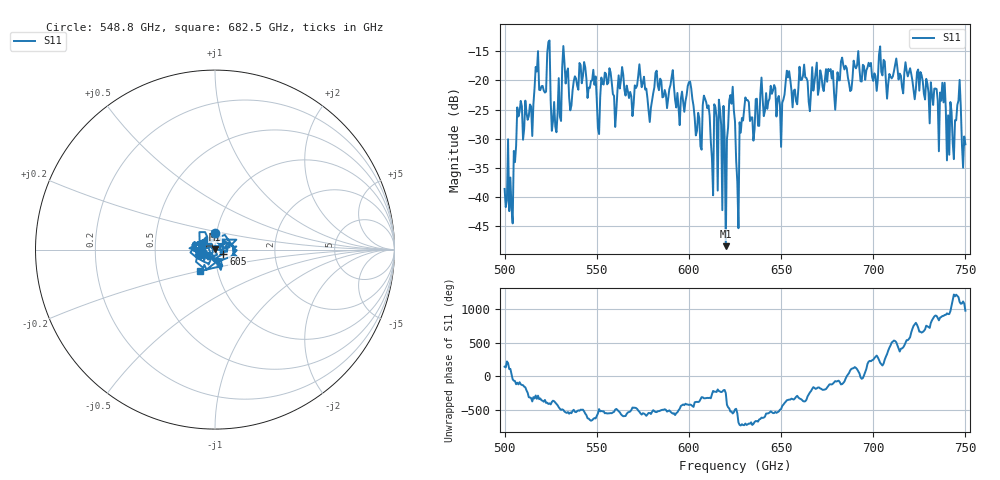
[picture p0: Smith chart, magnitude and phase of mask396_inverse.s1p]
!Created with skrf (http://scikit-rf.org).
# GHz S MA R 50.0
!freq magS11 angS11
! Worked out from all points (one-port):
!   401 points, 500 GHz to 750 GHz, reference 50 ohm
!   lowest |S11| = -48.5 dB at 620 GHz (marker M1), VSWR 1.01, Z = 49.9 + j0.361 ohm
!   |S11| at or under -10 dB: start of sweep to end of sweep
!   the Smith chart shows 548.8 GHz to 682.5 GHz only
!   S11 on the Smith chart (normalised r, x): 548.8 GHz: 0.98, +0.18; 605 GHz: 1.10, -0.05; 682.5 GHz: 0.83, -0.20
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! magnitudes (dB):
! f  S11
! 500 GHz  -38.6
! 503.8 GHz  -42.0
! 508.1 GHz  -25.4
! 513.8 GHz  -24.1
! 517.5 GHz  -18.5
! 523.8 GHz  -13.4
! 526.9 GHz  -23.7
! 531.2 GHz  -17.6
! 548.8 GHz  -20.7
! 562.5 GHz  -21.4
! 593.8 GHz  -22.2
! 600.6 GHz  -20.2
! 605 GHz  -25.6
! 609.4 GHz  -23.8
! 611.9 GHz  -30.5
! 620 GHz  -48.5
! 623.1 GHz  -24.0
! 625 GHz  -27.1
! 626.9 GHz  -45.4
! 631.2 GHz  -23.4
! 656.2 GHz  -24.6
! 682.5 GHz  -16.7
! 687.5 GHz  -21.8
! 718.8 GHz  -19.3
! 737.5 GHz  -20.4
! 742.5 GHz  -25.4
! 746.2 GHz  -23.5
! 750 GHz  -31.0
